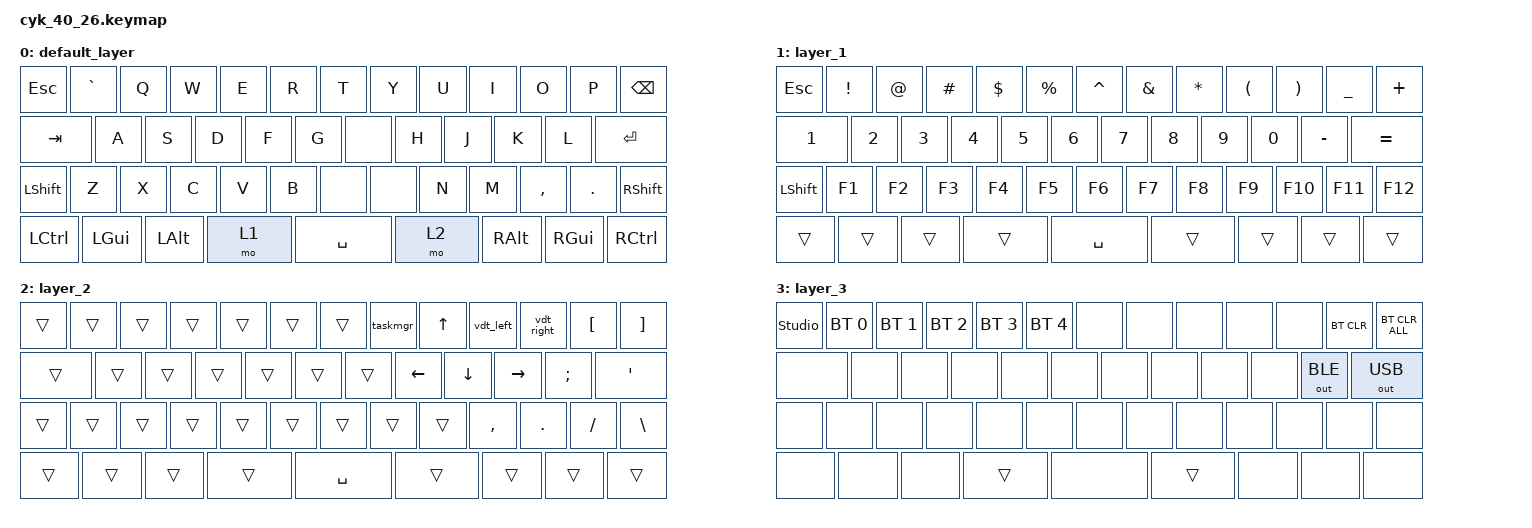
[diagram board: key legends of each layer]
#include <behaviors.dtsi>
#include <dt-bindings/zmk/bt.h>
#include <dt-bindings/zmk/keys.h>
#include <dt-bindings/zmk/outputs.h>

/ {
    macros {
        // Windows Virtual Desktop movements

        vdt_left: vdt_left {
            compatible = "zmk,behavior-macro";
            #binding-cells = <0>;
            bindings =
                <&macro_press>,
                <&kp LCTRL &kp LGUI>,
                <&macro_tap>,
                <&kp LEFT>,
                <&macro_release>,
                <&kp LCTRL &kp LGUI>;
        };

        vdt_right: vdt_right {
            compatible = "zmk,behavior-macro";
            #binding-cells = <0>;
            bindings =
                <&macro_press>,
                <&kp LCTRL &kp LGUI>,
                <&macro_tap>,
                <&kp RIGHT>,
                <&macro_release>,
                <&kp LCTRL &kp LGUI>;
        };

        // Open Task Manager

        taskmgr: taskmgr {
            compatible = "zmk,behavior-macro";
            #binding-cells = <0>;
            bindings =
                <&macro_press>,
                <&kp LCTRL &kp LSHIFT>,
                <&macro_tap>,
                <&kp ESC>,
                <&macro_release>,
                <&kp LCTRL &kp LSHIFT>;
        };
    };

    conditional_layers {
        compatible = "zmk,conditional-layers";

        tri_layer {
            if-layers = <1 2>;
            then-layer = <3>;
        };
    };

    keymap {
        compatible = "zmk,keymap";

        default_layer {
            bindings = <
&kp ESC  &kp GRAVE  &kp Q  &kp W  &kp E  &kp R  &kp T  &kp Y  &kp U  &kp I  &kp O  &kp P  &kp BACKSPACE  &kp TAB  &kp A  &kp S  &kp D  &kp F  &kp G  &none  &kp H  &kp J  &kp K  &kp L  &kp ENTER  &kp LSHIFT  &kp Z  &kp X  &kp C  &kp V  &kp B  &none  &none  &kp N  &kp M  &kp COMMA  &kp PERIOD  &kp RSHIFT  &kp LCTRL  &kp LEFT_GUI  &kp LEFT_ALT  &mo 1  &kp SPACE  &mo 2  &kp RIGHT_ALT  &kp RIGHT_GUI  &kp RCTRL
            >;
        };

        // Functions and numbers

        layer_1 {
            bindings = <
&kp ESC  &kp EXCL  &kp AT  &kp HASH  &kp DOLLAR  &kp PERCENT  &kp CARET  &kp AMPS  &kp ASTRK  &kp LPAR  &kp RPAR  &kp UNDERSCORE  &kp PLUS  &kp N1  &kp N2  &kp N3  &kp N4  &kp N5  &kp N6  &kp N7  &kp N8  &kp N9  &kp N0  &kp MINUS  &kp EQUAL  &kp LEFT_SHIFT  &kp F1  &kp F2  &kp F3  &kp F4  &kp F5  &kp F6  &kp F7  &kp F8  &kp F9  &kp F10  &kp F11  &kp F12  &trans  &trans  &trans  &trans  &kp SPACE  &trans  &trans  &trans  &trans
            >;
        };

        // Symbols

        layer_2 {
            bindings = <
&trans  &trans  &trans  &trans  &trans  &trans  &trans  &taskmgr  &kp UP  &vdt_left  &vdt_right  &kp LBKT  &kp RBKT  &trans  &trans  &trans  &trans  &trans  &trans  &trans  &kp LEFT  &kp DOWN  &kp RIGHT  &kp SEMI  &kp SQT  &trans  &trans  &trans  &trans  &trans  &trans  &trans  &trans  &trans  &kp COMMA  &kp PERIOD  &kp SLASH  &kp BACKSLASH  &trans  &trans  &trans  &trans  &kp SPACE  &trans  &trans  &trans  &trans
            >;
        };

        // Bluetooth and Settings

        layer_3 {
            bindings = <
&studio_unlock  &bt BT_SEL 0  &bt BT_SEL 1  &bt BT_SEL 2  &bt BT_SEL 3  &bt BT_SEL 4  &none  &none  &none  &none  &none  &bt BT_CLR  &bt BT_CLR_ALL  &none  &none  &none  &none  &none  &none  &none  &none  &none  &none  &out OUT_BLE  &out OUT_USB  &none  &none  &none  &none  &none  &none  &none  &none  &none  &none  &none  &none  &none  &none  &none  &none  &trans  &none  &trans  &none  &none  &none
            >;
        };
    };
};
